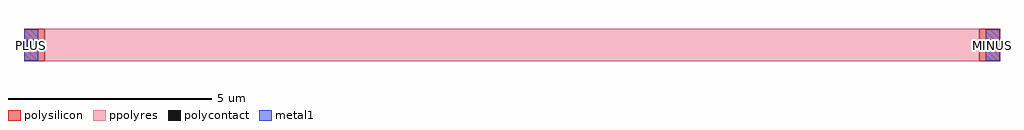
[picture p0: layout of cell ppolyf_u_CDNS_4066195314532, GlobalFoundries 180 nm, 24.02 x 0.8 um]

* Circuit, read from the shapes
.subckt ppolyf_u_CDNS_4066195314532 MINUS PLUS
XR1 MINUS PLUS VSUBS ppolyf_u r_width=0.8u r_length=23u
.ends

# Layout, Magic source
magic
tech gf180mcuD
magscale 1 10
<< polysilicon >>
rect 0 103 102 160
rect 0 57 13 103
rect 59 57 102 103
rect 0 0 102 57
rect 4702 103 4804 160
rect 4702 57 4745 103
rect 4791 57 4804 103
rect 4702 0 4804 57
<< polycontact >>
rect 13 57 59 103
rect 4745 57 4791 103
<< ppolyres >>
rect 102 0 4702 160
<< metal1 >>
rect 2 103 70 158
rect 2 57 13 103
rect 59 57 70 103
rect 2 2 70 57
rect 4734 103 4802 158
rect 4734 57 4745 103
rect 4791 57 4802 103
rect 4734 2 4802 57
<< labels >>
rlabel polycontact 4768 80 4768 80 4 MINUS
rlabel polycontact 36 80 36 80 4 PLUS
<< end >>
